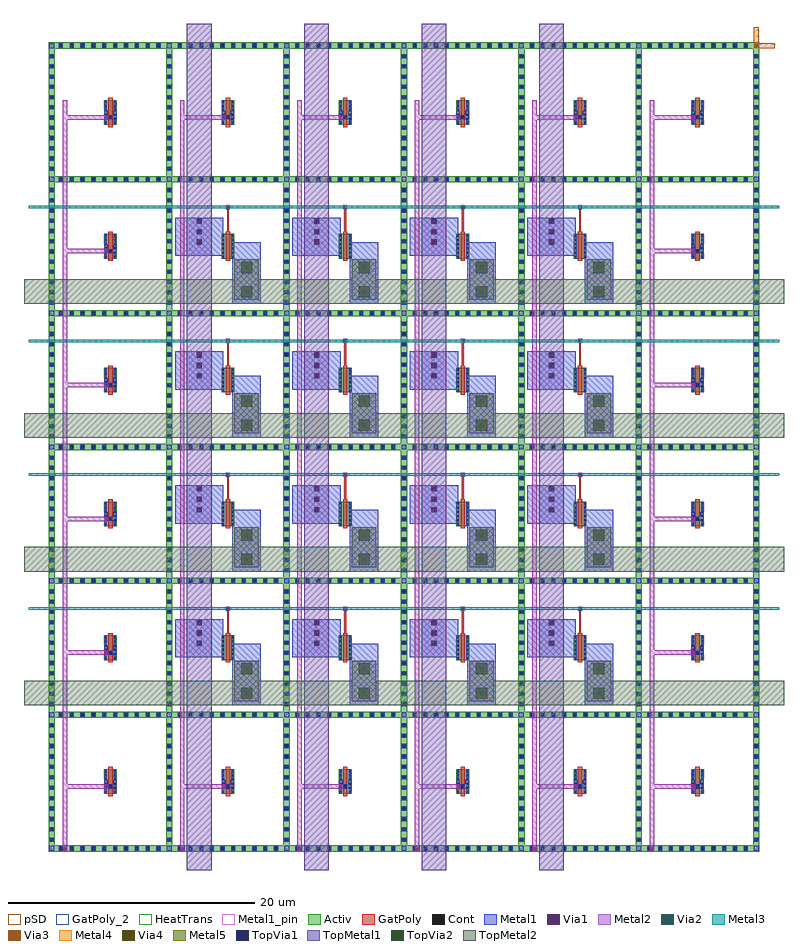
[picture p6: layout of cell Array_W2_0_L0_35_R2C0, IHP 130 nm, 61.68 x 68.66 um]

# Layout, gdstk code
import gdstk
lib = gdstk.Library(unit=1e-6, precision=1e-09)
def R(c, l, rs):  # rectangles x0, y0, x1, y1
    for r in rs: c.add(gdstk.rectangle(r[:2], r[2:], *l))
def A(c, l, x, y, w, h, nx, ny, dx, dy):  # array of equal rectangles
    R(c, l, [(x+i*dx, y+j*dy, x+i*dx+w, y+j*dy+h) for i in range(nx) for j in range(ny)])
Activ = (1, 0)
GatPoly = (5, 0)
GatPoly_2 = (5, 2)
Cont = (6, 0)
Metal1 = (8, 0)
Metal1_pin = (8, 2)
Metal2 = (10, 0)
pSD = (14, 0)
Via1 = (19, 0)
Via2 = (29, 0)
Metal3 = (30, 0)
Via3 = (49, 0)
Metal4 = (50, 0)
HeatTrans = (51, 0)
Via4 = (66, 0)
Metal5 = (67, 0)
TopVia1 = (125, 0)
TopMetal1 = (126, 0)
TopVia2 = (133, 0)
TopMetal2 = (134, 0)

array_w2_0_l0_35_r2c0 = lib.new_cell('Array_W2_0_L0_35_R2C0')
A(array_w2_0_l0_35_r2c0, Activ, 0, 0, 0.5, 65.66, 7, 1, 9.53, 0)
A(array_w2_0_l0_35_r2c0, Activ, 0, 0, 57.68, 0.5, 1, 7, 0, 10.86)
A(array_w2_0_l0_35_r2c0, Activ, 4.5, 4.68, 0.3, 0.3, 1, 6, 0, 10.86)
A(array_w2_0_l0_35_r2c0, Activ, 4.5, 4.68, 1.03, 2, 6, 6, 9.53, 10.86)
A(array_w2_0_l0_35_r2c0, Activ, 5.23, 4.68, 0.3, 0.3, 1, 6, 0, 10.86)
A(array_w2_0_l0_35_r2c0, Activ, 14.03, 4.68, 0.3, 0.3, 1, 6, 0, 10.86)
A(array_w2_0_l0_35_r2c0, Activ, 14.76, 4.68, 0.3, 0.3, 1, 6, 0, 10.86)
A(array_w2_0_l0_35_r2c0, Activ, 23.56, 4.68, 0.3, 0.3, 1, 6, 0, 10.86)
A(array_w2_0_l0_35_r2c0, Activ, 24.29, 4.68, 0.3, 0.3, 1, 6, 0, 10.86)
A(array_w2_0_l0_35_r2c0, Activ, 33.09, 4.68, 0.3, 0.3, 1, 6, 0, 10.86)
A(array_w2_0_l0_35_r2c0, Activ, 33.82, 4.68, 0.3, 0.3, 1, 6, 0, 10.86)
A(array_w2_0_l0_35_r2c0, Activ, 42.62, 4.68, 0.3, 0.3, 1, 6, 0, 10.86)
A(array_w2_0_l0_35_r2c0, Activ, 43.35, 4.68, 0.3, 0.3, 1, 6, 0, 10.86)
A(array_w2_0_l0_35_r2c0, Activ, 52.15, 4.68, 0.3, 0.3, 1, 6, 0, 10.86)
A(array_w2_0_l0_35_r2c0, Activ, 52.88, 4.68, 0.3, 0.3, 1, 6, 0, 10.86)
A(array_w2_0_l0_35_r2c0, GatPoly, 4.84, 4.5, 0.35, 2.36, 6, 6, 9.53, 10.86)
A(array_w2_0_l0_35_r2c0, GatPoly, 4.95, 5.28, 0.13, 0.2, 6, 2, 9.53, 54.3)
A(array_w2_0_l0_35_r2c0, GatPoly, 4.95, 16.14, 0.13, 0.2, 1, 4, 0, 10.86)
A(array_w2_0_l0_35_r2c0, GatPoly, 52.6, 16.14, 0.13, 0.2, 1, 4, 0, 10.86)
A(array_w2_0_l0_35_r2c0, GatPoly, 14.48, 17.72, 0.13, 2, 4, 4, 9.53, 10.86)
A(array_w2_0_l0_35_r2c0, GatPoly_2, 4.84, 4.5, 0.35, 2.36, 6, 6, 9.53, 10.86)
A(array_w2_0_l0_35_r2c0, Cont, 0.881, 0.14, 0.22, 0.22, 10, 7, 0.881, 10.86)
A(array_w2_0_l0_35_r2c0, Cont, 10.53, 0.14, 0.22, 0.22, 1, 7, 0, 10.86)
A(array_w2_0_l0_35_r2c0, Cont, 11.397, 0.14, 0.22, 0.22, 4, 7, 0.868, 10.86)
A(array_w2_0_l0_35_r2c0, Cont, 14.868, 0.14, 0.22, 0.22, 5, 7, 0.868, 10.86)
A(array_w2_0_l0_35_r2c0, Cont, 20.06, 0.14, 0.22, 0.22, 1, 7, 0, 10.86)
A(array_w2_0_l0_35_r2c0, Cont, 20.927, 0.14, 0.22, 0.22, 4, 7, 0.868, 10.86)
A(array_w2_0_l0_35_r2c0, Cont, 24.398, 0.14, 0.22, 0.22, 5, 7, 0.868, 10.86)
A(array_w2_0_l0_35_r2c0, Cont, 29.59, 0.14, 0.22, 0.22, 1, 7, 0, 10.86)
A(array_w2_0_l0_35_r2c0, Cont, 30.457, 0.14, 0.22, 0.22, 4, 7, 0.868, 10.86)
A(array_w2_0_l0_35_r2c0, Cont, 33.928, 0.14, 0.22, 0.22, 5, 7, 0.868, 10.86)
A(array_w2_0_l0_35_r2c0, Cont, 39.12, 0.14, 0.22, 0.22, 1, 7, 0, 10.86)
A(array_w2_0_l0_35_r2c0, Cont, 39.987, 0.14, 0.22, 0.22, 4, 7, 0.868, 10.86)
A(array_w2_0_l0_35_r2c0, Cont, 43.458, 0.14, 0.22, 0.22, 5, 7, 0.868, 10.86)
A(array_w2_0_l0_35_r2c0, Cont, 48.65, 0.14, 0.22, 0.22, 1, 7, 0, 10.86)
A(array_w2_0_l0_35_r2c0, Cont, 49.517, 0.14, 0.22, 0.22, 4, 7, 0.868, 10.86)
A(array_w2_0_l0_35_r2c0, Cont, 52.988, 0.14, 0.22, 0.22, 5, 7, 0.868, 10.86)
A(array_w2_0_l0_35_r2c0, Cont, 0.14, 0.845, 0.22, 0.22, 7, 12, 9.53, 0.845)
A(array_w2_0_l0_35_r2c0, Cont, 4.57, 4.75, 0.16, 0.16, 1, 6, 0, 0.34)
A(array_w2_0_l0_35_r2c0, Cont, 5.3, 4.75, 0.16, 0.16, 1, 6, 0, 0.34)
A(array_w2_0_l0_35_r2c0, Cont, 14.1, 4.75, 0.16, 0.16, 1, 6, 0, 0.34)
A(array_w2_0_l0_35_r2c0, Cont, 14.83, 4.75, 0.16, 0.16, 1, 6, 0, 0.34)
A(array_w2_0_l0_35_r2c0, Cont, 23.63, 4.75, 0.16, 0.16, 1, 6, 0, 0.34)
A(array_w2_0_l0_35_r2c0, Cont, 24.36, 4.75, 0.16, 0.16, 1, 6, 0, 0.34)
A(array_w2_0_l0_35_r2c0, Cont, 33.16, 4.75, 0.16, 0.16, 1, 6, 0, 0.34)
A(array_w2_0_l0_35_r2c0, Cont, 33.89, 4.75, 0.16, 0.16, 1, 6, 0, 0.34)
A(array_w2_0_l0_35_r2c0, Cont, 42.69, 4.75, 0.16, 0.16, 1, 6, 0, 0.34)
A(array_w2_0_l0_35_r2c0, Cont, 43.42, 4.75, 0.16, 0.16, 1, 6, 0, 0.34)
A(array_w2_0_l0_35_r2c0, Cont, 52.22, 4.75, 0.16, 0.16, 1, 6, 0, 0.34)
A(array_w2_0_l0_35_r2c0, Cont, 52.95, 4.75, 0.16, 0.16, 1, 6, 0, 0.34)
A(array_w2_0_l0_35_r2c0, Cont, 4.905, 5.17, 0.22, 0.22, 6, 2, 9.53, 54.3)
A(array_w2_0_l0_35_r2c0, Cont, 0.14, 11.86, 0.22, 0.22, 7, 2, 9.53, 0.83)
A(array_w2_0_l0_35_r2c0, Cont, 0.14, 13.521, 0.22, 0.22, 7, 10, 9.53, 0.831)
A(array_w2_0_l0_35_r2c0, Cont, 4.57, 15.61, 0.16, 0.16, 1, 6, 0, 0.34)
A(array_w2_0_l0_35_r2c0, Cont, 5.3, 15.61, 0.16, 0.16, 1, 6, 0, 0.34)
A(array_w2_0_l0_35_r2c0, Cont, 14.1, 15.61, 0.16, 0.16, 1, 6, 0, 0.34)
A(array_w2_0_l0_35_r2c0, Cont, 14.83, 15.61, 0.16, 0.16, 1, 6, 0, 0.34)
A(array_w2_0_l0_35_r2c0, Cont, 23.63, 15.61, 0.16, 0.16, 1, 6, 0, 0.34)
A(array_w2_0_l0_35_r2c0, Cont, 24.36, 15.61, 0.16, 0.16, 1, 6, 0, 0.34)
A(array_w2_0_l0_35_r2c0, Cont, 33.16, 15.61, 0.16, 0.16, 1, 6, 0, 0.34)
A(array_w2_0_l0_35_r2c0, Cont, 33.89, 15.61, 0.16, 0.16, 1, 6, 0, 0.34)
A(array_w2_0_l0_35_r2c0, Cont, 42.69, 15.61, 0.16, 0.16, 1, 6, 0, 0.34)
A(array_w2_0_l0_35_r2c0, Cont, 43.42, 15.61, 0.16, 0.16, 1, 6, 0, 0.34)
A(array_w2_0_l0_35_r2c0, Cont, 52.22, 15.61, 0.16, 0.16, 1, 6, 0, 0.34)
A(array_w2_0_l0_35_r2c0, Cont, 52.95, 15.61, 0.16, 0.16, 1, 6, 0, 0.34)
A(array_w2_0_l0_35_r2c0, Cont, 4.905, 16.03, 0.22, 0.22, 1, 4, 0, 10.86)
A(array_w2_0_l0_35_r2c0, Cont, 52.555, 16.03, 0.22, 0.22, 1, 4, 0, 10.86)
A(array_w2_0_l0_35_r2c0, Cont, 14.435, 19.61, 0.22, 0.22, 4, 4, 9.53, 10.86)
A(array_w2_0_l0_35_r2c0, Cont, 0.14, 22.72, 0.22, 0.22, 7, 2, 9.53, 0.83)
A(array_w2_0_l0_35_r2c0, Cont, 0.14, 24.381, 0.22, 0.22, 7, 10, 9.53, 0.831)
A(array_w2_0_l0_35_r2c0, Cont, 4.57, 26.47, 0.16, 0.16, 1, 6, 0, 0.34)
A(array_w2_0_l0_35_r2c0, Cont, 5.3, 26.47, 0.16, 0.16, 1, 6, 0, 0.34)
A(array_w2_0_l0_35_r2c0, Cont, 14.1, 26.47, 0.16, 0.16, 1, 6, 0, 0.34)
A(array_w2_0_l0_35_r2c0, Cont, 14.83, 26.47, 0.16, 0.16, 1, 6, 0, 0.34)
A(array_w2_0_l0_35_r2c0, Cont, 23.63, 26.47, 0.16, 0.16, 1, 6, 0, 0.34)
A(array_w2_0_l0_35_r2c0, Cont, 24.36, 26.47, 0.16, 0.16, 1, 6, 0, 0.34)
A(array_w2_0_l0_35_r2c0, Cont, 33.16, 26.47, 0.16, 0.16, 1, 6, 0, 0.34)
A(array_w2_0_l0_35_r2c0, Cont, 33.89, 26.47, 0.16, 0.16, 1, 6, 0, 0.34)
A(array_w2_0_l0_35_r2c0, Cont, 42.69, 26.47, 0.16, 0.16, 1, 6, 0, 0.34)
A(array_w2_0_l0_35_r2c0, Cont, 43.42, 26.47, 0.16, 0.16, 1, 6, 0, 0.34)
A(array_w2_0_l0_35_r2c0, Cont, 52.22, 26.47, 0.16, 0.16, 1, 6, 0, 0.34)
A(array_w2_0_l0_35_r2c0, Cont, 52.95, 26.47, 0.16, 0.16, 1, 6, 0, 0.34)
A(array_w2_0_l0_35_r2c0, Cont, 0.14, 33.58, 0.22, 0.22, 7, 2, 9.53, 0.83)
A(array_w2_0_l0_35_r2c0, Cont, 0.14, 35.241, 0.22, 0.22, 7, 10, 9.53, 0.831)
A(array_w2_0_l0_35_r2c0, Cont, 4.57, 37.33, 0.16, 0.16, 1, 6, 0, 0.34)
A(array_w2_0_l0_35_r2c0, Cont, 5.3, 37.33, 0.16, 0.16, 1, 6, 0, 0.34)
A(array_w2_0_l0_35_r2c0, Cont, 14.1, 37.33, 0.16, 0.16, 1, 6, 0, 0.34)
A(array_w2_0_l0_35_r2c0, Cont, 14.83, 37.33, 0.16, 0.16, 1, 6, 0, 0.34)
A(array_w2_0_l0_35_r2c0, Cont, 23.63, 37.33, 0.16, 0.16, 1, 6, 0, 0.34)
A(array_w2_0_l0_35_r2c0, Cont, 24.36, 37.33, 0.16, 0.16, 1, 6, 0, 0.34)
A(array_w2_0_l0_35_r2c0, Cont, 33.16, 37.33, 0.16, 0.16, 1, 6, 0, 0.34)
A(array_w2_0_l0_35_r2c0, Cont, 33.89, 37.33, 0.16, 0.16, 1, 6, 0, 0.34)
A(array_w2_0_l0_35_r2c0, Cont, 42.69, 37.33, 0.16, 0.16, 1, 6, 0, 0.34)
A(array_w2_0_l0_35_r2c0, Cont, 43.42, 37.33, 0.16, 0.16, 1, 6, 0, 0.34)
A(array_w2_0_l0_35_r2c0, Cont, 52.22, 37.33, 0.16, 0.16, 1, 6, 0, 0.34)
A(array_w2_0_l0_35_r2c0, Cont, 52.95, 37.33, 0.16, 0.16, 1, 6, 0, 0.34)
A(array_w2_0_l0_35_r2c0, Cont, 0.14, 44.44, 0.22, 0.22, 7, 2, 9.53, 0.83)
A(array_w2_0_l0_35_r2c0, Cont, 0.14, 46.101, 0.22, 0.22, 7, 10, 9.53, 0.831)
A(array_w2_0_l0_35_r2c0, Cont, 4.57, 48.19, 0.16, 0.16, 1, 6, 0, 0.34)
A(array_w2_0_l0_35_r2c0, Cont, 5.3, 48.19, 0.16, 0.16, 1, 6, 0, 0.34)
A(array_w2_0_l0_35_r2c0, Cont, 14.1, 48.19, 0.16, 0.16, 1, 6, 0, 0.34)
A(array_w2_0_l0_35_r2c0, Cont, 14.83, 48.19, 0.16, 0.16, 1, 6, 0, 0.34)
A(array_w2_0_l0_35_r2c0, Cont, 23.63, 48.19, 0.16, 0.16, 1, 6, 0, 0.34)
A(array_w2_0_l0_35_r2c0, Cont, 24.36, 48.19, 0.16, 0.16, 1, 6, 0, 0.34)
A(array_w2_0_l0_35_r2c0, Cont, 33.16, 48.19, 0.16, 0.16, 1, 6, 0, 0.34)
A(array_w2_0_l0_35_r2c0, Cont, 33.89, 48.19, 0.16, 0.16, 1, 6, 0, 0.34)
A(array_w2_0_l0_35_r2c0, Cont, 42.69, 48.19, 0.16, 0.16, 1, 6, 0, 0.34)
A(array_w2_0_l0_35_r2c0, Cont, 43.42, 48.19, 0.16, 0.16, 1, 6, 0, 0.34)
A(array_w2_0_l0_35_r2c0, Cont, 52.22, 48.19, 0.16, 0.16, 1, 6, 0, 0.34)
A(array_w2_0_l0_35_r2c0, Cont, 52.95, 48.19, 0.16, 0.16, 1, 6, 0, 0.34)
A(array_w2_0_l0_35_r2c0, Cont, 0.14, 55.3, 0.22, 0.22, 7, 2, 9.53, 0.83)
A(array_w2_0_l0_35_r2c0, Cont, 0.14, 56.961, 0.22, 0.22, 7, 10, 9.53, 0.831)
A(array_w2_0_l0_35_r2c0, Cont, 4.57, 59.05, 0.16, 0.16, 1, 6, 0, 0.34)
A(array_w2_0_l0_35_r2c0, Cont, 5.3, 59.05, 0.16, 0.16, 1, 6, 0, 0.34)
A(array_w2_0_l0_35_r2c0, Cont, 14.1, 59.05, 0.16, 0.16, 1, 6, 0, 0.34)
A(array_w2_0_l0_35_r2c0, Cont, 14.83, 59.05, 0.16, 0.16, 1, 6, 0, 0.34)
A(array_w2_0_l0_35_r2c0, Cont, 23.63, 59.05, 0.16, 0.16, 1, 6, 0, 0.34)
A(array_w2_0_l0_35_r2c0, Cont, 24.36, 59.05, 0.16, 0.16, 1, 6, 0, 0.34)
A(array_w2_0_l0_35_r2c0, Cont, 33.16, 59.05, 0.16, 0.16, 1, 6, 0, 0.34)
A(array_w2_0_l0_35_r2c0, Cont, 33.89, 59.05, 0.16, 0.16, 1, 6, 0, 0.34)
A(array_w2_0_l0_35_r2c0, Cont, 42.69, 59.05, 0.16, 0.16, 1, 6, 0, 0.34)
A(array_w2_0_l0_35_r2c0, Cont, 43.42, 59.05, 0.16, 0.16, 1, 6, 0, 0.34)
A(array_w2_0_l0_35_r2c0, Cont, 52.22, 59.05, 0.16, 0.16, 1, 6, 0, 0.34)
A(array_w2_0_l0_35_r2c0, Cont, 52.95, 59.05, 0.16, 0.16, 1, 6, 0, 0.34)
A(array_w2_0_l0_35_r2c0, Metal1, 0.821, 0.08, 0.34, 0.34, 10, 7, 0.881, 10.86)
A(array_w2_0_l0_35_r2c0, Metal1, 10.47, 0.08, 0.34, 0.34, 1, 7, 0, 10.86)
A(array_w2_0_l0_35_r2c0, Metal1, 11.337, 0.08, 0.34, 0.34, 4, 7, 0.868, 10.86)
A(array_w2_0_l0_35_r2c0, Metal1, 14.808, 0.08, 0.34, 0.34, 5, 7, 0.868, 10.86)
A(array_w2_0_l0_35_r2c0, Metal1, 20, 0.08, 0.34, 0.34, 1, 7, 0, 10.86)
A(array_w2_0_l0_35_r2c0, Metal1, 20.867, 0.08, 0.34, 0.34, 4, 7, 0.868, 10.86)
A(array_w2_0_l0_35_r2c0, Metal1, 24.338, 0.08, 0.34, 0.34, 5, 7, 0.868, 10.86)
A(array_w2_0_l0_35_r2c0, Metal1, 29.53, 0.08, 0.34, 0.34, 1, 7, 0, 10.86)
A(array_w2_0_l0_35_r2c0, Metal1, 30.397, 0.08, 0.34, 0.34, 4, 7, 0.868, 10.86)
A(array_w2_0_l0_35_r2c0, Metal1, 33.868, 0.08, 0.34, 0.34, 5, 7, 0.868, 10.86)
A(array_w2_0_l0_35_r2c0, Metal1, 39.06, 0.08, 0.34, 0.34, 1, 7, 0, 10.86)
A(array_w2_0_l0_35_r2c0, Metal1, 39.927, 0.08, 0.34, 0.34, 4, 7, 0.868, 10.86)
A(array_w2_0_l0_35_r2c0, Metal1, 43.398, 0.08, 0.34, 0.34, 5, 7, 0.868, 10.86)
A(array_w2_0_l0_35_r2c0, Metal1, 48.59, 0.08, 0.34, 0.34, 1, 7, 0, 10.86)
A(array_w2_0_l0_35_r2c0, Metal1, 49.457, 0.08, 0.34, 0.34, 4, 7, 0.868, 10.86)
A(array_w2_0_l0_35_r2c0, Metal1, 52.928, 0.08, 0.34, 0.34, 5, 7, 0.868, 10.86)
A(array_w2_0_l0_35_r2c0, Metal1, 0.08, 0.785, 0.34, 0.34, 7, 12, 9.53, 0.845)
A(array_w2_0_l0_35_r2c0, Metal1, 4.57, 4.68, 0.16, 2, 1, 6, 0, 10.86)
A(array_w2_0_l0_35_r2c0, Metal1, 5.3, 4.68, 0.16, 2, 1, 6, 0, 10.86)
A(array_w2_0_l0_35_r2c0, Metal1, 14.1, 4.68, 0.16, 2, 1, 6, 0, 10.86)
A(array_w2_0_l0_35_r2c0, Metal1, 14.83, 4.68, 0.16, 2, 1, 6, 0, 10.86)
A(array_w2_0_l0_35_r2c0, Metal1, 23.63, 4.68, 0.16, 2, 1, 6, 0, 10.86)
A(array_w2_0_l0_35_r2c0, Metal1, 24.36, 4.68, 0.16, 2, 1, 6, 0, 10.86)
A(array_w2_0_l0_35_r2c0, Metal1, 33.16, 4.68, 0.16, 2, 1, 6, 0, 10.86)
A(array_w2_0_l0_35_r2c0, Metal1, 33.89, 4.68, 0.16, 2, 1, 6, 0, 10.86)
A(array_w2_0_l0_35_r2c0, Metal1, 42.69, 4.68, 0.16, 2, 1, 6, 0, 10.86)
A(array_w2_0_l0_35_r2c0, Metal1, 43.42, 4.68, 0.16, 2, 1, 6, 0, 10.86)
A(array_w2_0_l0_35_r2c0, Metal1, 52.22, 4.68, 0.16, 2, 1, 6, 0, 10.86)
A(array_w2_0_l0_35_r2c0, Metal1, 52.95, 4.68, 0.16, 2, 1, 6, 0, 10.86)
A(array_w2_0_l0_35_r2c0, Metal1, 4.845, 5.11, 0.34, 0.34, 6, 2, 9.53, 54.3)
A(array_w2_0_l0_35_r2c0, Metal1, 4.51, 5.14, 0.28, 0.68, 1, 6, 0, 10.86)
A(array_w2_0_l0_35_r2c0, Metal1, 4.51, 5.14, 1.01, 0.28, 6, 2, 9.53, 54.3)
A(array_w2_0_l0_35_r2c0, Metal1, 5.24, 5.14, 0.28, 0.68, 1, 6, 0, 10.86)
A(array_w2_0_l0_35_r2c0, Metal1, 52.16, 5.14, 0.28, 0.68, 1, 6, 0, 10.86)
A(array_w2_0_l0_35_r2c0, Metal1, 52.89, 5.14, 0.28, 0.68, 1, 6, 0, 10.86)
A(array_w2_0_l0_35_r2c0, Metal1, 0.05, 10.91, 0.4, 0.4, 7, 6, 9.53, 10.86)
A(array_w2_0_l0_35_r2c0, Metal1, 0.08, 11.8, 0.34, 0.34, 7, 2, 9.53, 0.83)
A(array_w2_0_l0_35_r2c0, Metal1, 14.91, 11.86, 2.32, 5.02, 4, 4, 9.53, 10.86)
A(array_w2_0_l0_35_r2c0, Metal1, 0.08, 13.461, 0.34, 0.34, 7, 10, 9.53, 0.831)
A(array_w2_0_l0_35_r2c0, Metal1, 10.26, 15.76, 3.92, 3.11, 4, 4, 9.53, 10.86)
A(array_w2_0_l0_35_r2c0, Metal1, 4.845, 15.97, 0.34, 0.34, 1, 4, 0, 10.86)
A(array_w2_0_l0_35_r2c0, Metal1, 52.495, 15.97, 0.34, 0.34, 1, 4, 0, 10.86)
A(array_w2_0_l0_35_r2c0, Metal1, 4.51, 16, 1.01, 0.28, 1, 4, 0, 10.86)
A(array_w2_0_l0_35_r2c0, Metal1, 52.16, 16, 1.01, 0.28, 1, 4, 0, 10.86)
A(array_w2_0_l0_35_r2c0, Metal1, 14.385, 19.56, 0.32, 0.32, 4, 4, 9.53, 10.86)
A(array_w2_0_l0_35_r2c0, Metal1, 0.08, 22.66, 0.34, 0.34, 7, 2, 9.53, 0.83)
A(array_w2_0_l0_35_r2c0, Metal1, 0.08, 24.321, 0.34, 0.34, 7, 10, 9.53, 0.831)
A(array_w2_0_l0_35_r2c0, Metal1, 0.08, 33.52, 0.34, 0.34, 7, 2, 9.53, 0.83)
A(array_w2_0_l0_35_r2c0, Metal1, 0.08, 35.181, 0.34, 0.34, 7, 10, 9.53, 0.831)
A(array_w2_0_l0_35_r2c0, Metal1, 0.08, 44.38, 0.34, 0.34, 7, 2, 9.53, 0.83)
A(array_w2_0_l0_35_r2c0, Metal1, 0.08, 46.041, 0.34, 0.34, 7, 10, 9.53, 0.831)
A(array_w2_0_l0_35_r2c0, Metal1, 0.08, 55.24, 0.34, 0.34, 7, 2, 9.53, 0.83)
A(array_w2_0_l0_35_r2c0, Metal1, 0.08, 56.901, 0.34, 0.34, 7, 10, 9.53, 0.831)
R(array_w2_0_l0_35_r2c0, Metal1, [(0.05,0.05,0.45,0.45), (1.115,0.05,1.515,0.45), (9.58,0.05,9.98,0.45), (10.645,0.05,11.045,0.45), (19.11,0.05,19.51,0.45), (20.175,0.05,20.575,0.45), (28.64,0.05,29.04,0.45), (29.705,0.05,30.105,0.45), (38.17,0.05,38.57,0.45), (39.235,0.05,39.635,0.45), (47.7,0.05,48.1,0.45), (48.765,0.05,49.165,0.45), (57.23,0.05,57.63,0.45), (14.04,5.14,14.32,5.82), (14.77,5.14,15.05,5.82), (23.57,5.14,23.85,5.82), (24.3,5.14,24.58,5.82), (33.1,5.14,33.38,5.82), (33.83,5.14,34.11,5.82), (42.63,5.14,42.91,5.82), (43.36,5.14,43.64,5.82), (14.04,59.44,14.32,60.12), (14.77,59.44,15.05,60.12), (23.57,59.44,23.85,60.12), (24.3,59.44,24.58,60.12), (33.1,59.44,33.38,60.12), (33.83,59.44,34.11,60.12), (42.63,59.44,42.91,60.12), (43.36,59.44,43.64,60.12)])
A(array_w2_0_l0_35_r2c0, Metal1_pin, 4.57, 4.68, 0.16, 2, 1, 6, 0, 10.86)
A(array_w2_0_l0_35_r2c0, Metal1_pin, 5.3, 4.68, 0.16, 2, 1, 6, 0, 10.86)
A(array_w2_0_l0_35_r2c0, Metal1_pin, 14.1, 4.68, 0.16, 2, 1, 6, 0, 10.86)
A(array_w2_0_l0_35_r2c0, Metal1_pin, 14.83, 4.68, 0.16, 2, 1, 6, 0, 10.86)
A(array_w2_0_l0_35_r2c0, Metal1_pin, 23.63, 4.68, 0.16, 2, 1, 6, 0, 10.86)
A(array_w2_0_l0_35_r2c0, Metal1_pin, 24.36, 4.68, 0.16, 2, 1, 6, 0, 10.86)
A(array_w2_0_l0_35_r2c0, Metal1_pin, 33.16, 4.68, 0.16, 2, 1, 6, 0, 10.86)
A(array_w2_0_l0_35_r2c0, Metal1_pin, 33.89, 4.68, 0.16, 2, 1, 6, 0, 10.86)
A(array_w2_0_l0_35_r2c0, Metal1_pin, 42.69, 4.68, 0.16, 2, 1, 6, 0, 10.86)
A(array_w2_0_l0_35_r2c0, Metal1_pin, 43.42, 4.68, 0.16, 2, 1, 6, 0, 10.86)
A(array_w2_0_l0_35_r2c0, Metal1_pin, 52.22, 4.68, 0.16, 2, 1, 6, 0, 10.86)
A(array_w2_0_l0_35_r2c0, Metal1_pin, 52.95, 4.68, 0.16, 2, 1, 6, 0, 10.86)
A(array_w2_0_l0_35_r2c0, Metal2, 1.135, 0.07, 0.36, 60.91, 6, 1, 9.53, 0)
A(array_w2_0_l0_35_r2c0, Metal2, 1.135, 5.1, 3.695, 0.36, 6, 2, 9.53, 54.3)
A(array_w2_0_l0_35_r2c0, Metal2, 15.915, 12.705, 0.31, 0.31, 4, 2, 9.53, 1.96)
A(array_w2_0_l0_35_r2c0, Metal2, 1.135, 15.96, 3.695, 0.36, 1, 4, 0, 10.86)
A(array_w2_0_l0_35_r2c0, Metal2, 48.785, 15.96, 3.695, 0.36, 1, 4, 0, 10.86)
A(array_w2_0_l0_35_r2c0, Metal2, 12.065, 16.735, 0.31, 0.31, 4, 3, 9.53, 0.84)
A(array_w2_0_l0_35_r2c0, Metal2, 14.4, 19.575, 0.29, 0.29, 4, 4, 9.53, 10.86)
A(array_w2_0_l0_35_r2c0, Metal2, 15.915, 23.565, 0.31, 0.31, 4, 2, 9.53, 1.96)
A(array_w2_0_l0_35_r2c0, Metal2, 12.065, 27.595, 0.31, 0.31, 4, 3, 9.53, 0.84)
A(array_w2_0_l0_35_r2c0, Metal2, 15.915, 34.425, 0.31, 0.31, 4, 2, 9.53, 1.96)
A(array_w2_0_l0_35_r2c0, Metal2, 12.065, 38.455, 0.31, 0.31, 4, 3, 9.53, 0.84)
A(array_w2_0_l0_35_r2c0, Metal2, 15.915, 45.285, 0.31, 0.31, 4, 2, 9.53, 1.96)
A(array_w2_0_l0_35_r2c0, Metal2, 12.065, 49.315, 0.31, 0.31, 4, 3, 9.53, 0.84)
R(array_w2_0_l0_35_r2c0, Metal2, [(57.25,65.23,57.61,65.59)])
A(array_w2_0_l0_35_r2c0, pSD, 0, 0, 0.5, 65.66, 7, 1, 9.53, 0)
A(array_w2_0_l0_35_r2c0, pSD, 0, 0, 57.68, 0.5, 1, 7, 0, 10.86)
A(array_w2_0_l0_35_r2c0, Via1, 1.22, 0.155, 0.19, 0.19, 6, 1, 9.53, 0)
A(array_w2_0_l0_35_r2c0, Via1, 4.555, 5.185, 0.19, 0.19, 6, 2, 9.53, 54.3)
A(array_w2_0_l0_35_r2c0, Via1, 15.975, 12.765, 0.19, 0.19, 4, 2, 9.53, 1.96)
A(array_w2_0_l0_35_r2c0, Via1, 4.555, 16.045, 0.19, 0.19, 1, 4, 0, 10.86)
A(array_w2_0_l0_35_r2c0, Via1, 52.205, 16.045, 0.19, 0.19, 1, 4, 0, 10.86)
A(array_w2_0_l0_35_r2c0, Via1, 12.125, 16.795, 0.19, 0.19, 4, 3, 9.53, 0.84)
A(array_w2_0_l0_35_r2c0, Via1, 14.45, 19.625, 0.19, 0.19, 4, 4, 9.53, 10.86)
A(array_w2_0_l0_35_r2c0, Via1, 15.975, 23.625, 0.19, 0.19, 4, 2, 9.53, 1.96)
A(array_w2_0_l0_35_r2c0, Via1, 12.125, 27.655, 0.19, 0.19, 4, 3, 9.53, 0.84)
A(array_w2_0_l0_35_r2c0, Via1, 15.975, 34.485, 0.19, 0.19, 4, 2, 9.53, 1.96)
A(array_w2_0_l0_35_r2c0, Via1, 12.125, 38.515, 0.19, 0.19, 4, 3, 9.53, 0.84)
A(array_w2_0_l0_35_r2c0, Via1, 15.975, 45.345, 0.19, 0.19, 4, 2, 9.53, 1.96)
A(array_w2_0_l0_35_r2c0, Via1, 12.125, 49.375, 0.19, 0.19, 4, 3, 9.53, 0.84)
R(array_w2_0_l0_35_r2c0, Via1, [(57.335,65.315,57.525,65.505)])
A(array_w2_0_l0_35_r2c0, Via2, 15.975, 12.765, 0.19, 0.19, 4, 2, 9.53, 1.96)
A(array_w2_0_l0_35_r2c0, Via2, 12.125, 16.795, 0.19, 0.19, 4, 3, 9.53, 0.84)
A(array_w2_0_l0_35_r2c0, Via2, 14.45, 19.625, 0.19, 0.19, 4, 4, 9.53, 10.86)
A(array_w2_0_l0_35_r2c0, Via2, 15.975, 23.625, 0.19, 0.19, 4, 2, 9.53, 1.96)
A(array_w2_0_l0_35_r2c0, Via2, 12.125, 27.655, 0.19, 0.19, 4, 3, 9.53, 0.84)
A(array_w2_0_l0_35_r2c0, Via2, 15.975, 34.485, 0.19, 0.19, 4, 2, 9.53, 1.96)
A(array_w2_0_l0_35_r2c0, Via2, 12.125, 38.515, 0.19, 0.19, 4, 3, 9.53, 0.84)
A(array_w2_0_l0_35_r2c0, Via2, 15.975, 45.345, 0.19, 0.19, 4, 2, 9.53, 1.96)
A(array_w2_0_l0_35_r2c0, Via2, 12.125, 49.375, 0.19, 0.19, 4, 3, 9.53, 0.84)
R(array_w2_0_l0_35_r2c0, Via2, [(57.335,65.315,57.525,65.505)])
A(array_w2_0_l0_35_r2c0, Metal3, 15.915, 12.705, 0.31, 0.31, 4, 2, 9.53, 1.96)
A(array_w2_0_l0_35_r2c0, Metal3, 12.065, 16.735, 0.31, 0.31, 4, 3, 9.53, 0.84)
A(array_w2_0_l0_35_r2c0, Metal3, -1.6, 19.62, 60.88, 0.2, 1, 4, 0, 10.86)
A(array_w2_0_l0_35_r2c0, Metal3, 14.445, 19.62, 0.2, 0.2, 4, 4, 9.53, 10.86)
A(array_w2_0_l0_35_r2c0, Metal3, 15.915, 23.565, 0.31, 0.31, 4, 2, 9.53, 1.96)
A(array_w2_0_l0_35_r2c0, Metal3, 12.065, 27.595, 0.31, 0.31, 4, 3, 9.53, 0.84)
A(array_w2_0_l0_35_r2c0, Metal3, 15.915, 34.425, 0.31, 0.31, 4, 2, 9.53, 1.96)
A(array_w2_0_l0_35_r2c0, Metal3, 12.065, 38.455, 0.31, 0.31, 4, 3, 9.53, 0.84)
A(array_w2_0_l0_35_r2c0, Metal3, 15.915, 45.285, 0.31, 0.31, 4, 2, 9.53, 1.96)
A(array_w2_0_l0_35_r2c0, Metal3, 12.065, 49.315, 0.31, 0.31, 4, 3, 9.53, 0.84)
R(array_w2_0_l0_35_r2c0, Metal3, [(57.33,65.31,57.53,65.51)])
A(array_w2_0_l0_35_r2c0, Via3, 15.975, 12.765, 0.19, 0.19, 4, 2, 9.53, 1.96)
A(array_w2_0_l0_35_r2c0, Via3, 12.125, 16.795, 0.19, 0.19, 4, 3, 9.53, 0.84)
A(array_w2_0_l0_35_r2c0, Via3, 15.975, 23.625, 0.19, 0.19, 4, 2, 9.53, 1.96)
A(array_w2_0_l0_35_r2c0, Via3, 12.125, 27.655, 0.19, 0.19, 4, 3, 9.53, 0.84)
A(array_w2_0_l0_35_r2c0, Via3, 15.975, 34.485, 0.19, 0.19, 4, 2, 9.53, 1.96)
A(array_w2_0_l0_35_r2c0, Via3, 12.125, 38.515, 0.19, 0.19, 4, 3, 9.53, 0.84)
A(array_w2_0_l0_35_r2c0, Via3, 15.975, 45.345, 0.19, 0.19, 4, 2, 9.53, 1.96)
A(array_w2_0_l0_35_r2c0, Via3, 12.125, 49.375, 0.19, 0.19, 4, 3, 9.53, 0.84)
R(array_w2_0_l0_35_r2c0, Via3, [(57.335,65.315,57.525,65.505)])
A(array_w2_0_l0_35_r2c0, Metal4, 15.915, 12.705, 0.31, 0.31, 4, 2, 9.53, 1.96)
A(array_w2_0_l0_35_r2c0, Metal4, 12.065, 16.735, 0.31, 0.31, 4, 3, 9.53, 0.84)
A(array_w2_0_l0_35_r2c0, Metal4, 15.915, 23.565, 0.31, 0.31, 4, 2, 9.53, 1.96)
A(array_w2_0_l0_35_r2c0, Metal4, 12.065, 27.595, 0.31, 0.31, 4, 3, 9.53, 0.84)
A(array_w2_0_l0_35_r2c0, Metal4, 15.915, 34.425, 0.31, 0.31, 4, 2, 9.53, 1.96)
A(array_w2_0_l0_35_r2c0, Metal4, 12.065, 38.455, 0.31, 0.31, 4, 3, 9.53, 0.84)
A(array_w2_0_l0_35_r2c0, Metal4, 15.915, 45.285, 0.31, 0.31, 4, 2, 9.53, 1.96)
A(array_w2_0_l0_35_r2c0, Metal4, 12.065, 49.315, 0.31, 0.31, 4, 3, 9.53, 0.84)
R(array_w2_0_l0_35_r2c0, Metal4, [(57.23,65.21,58.93,65.61), (57.23,65.21,57.63,66.91)])
A(array_w2_0_l0_35_r2c0, HeatTrans, 4.84, 4.5, 0.35, 2.36, 6, 6, 9.53, 10.86)
A(array_w2_0_l0_35_r2c0, Via4, 15.975, 12.765, 0.19, 0.19, 4, 2, 9.53, 1.96)
A(array_w2_0_l0_35_r2c0, Via4, 12.125, 16.795, 0.19, 0.19, 4, 3, 9.53, 0.84)
A(array_w2_0_l0_35_r2c0, Via4, 15.975, 23.625, 0.19, 0.19, 4, 2, 9.53, 1.96)
A(array_w2_0_l0_35_r2c0, Via4, 12.125, 27.655, 0.19, 0.19, 4, 3, 9.53, 0.84)
A(array_w2_0_l0_35_r2c0, Via4, 15.975, 34.485, 0.19, 0.19, 4, 2, 9.53, 1.96)
A(array_w2_0_l0_35_r2c0, Via4, 12.125, 38.515, 0.19, 0.19, 4, 3, 9.53, 0.84)
A(array_w2_0_l0_35_r2c0, Via4, 15.975, 45.345, 0.19, 0.19, 4, 2, 9.53, 1.96)
A(array_w2_0_l0_35_r2c0, Via4, 12.125, 49.375, 0.19, 0.19, 4, 3, 9.53, 0.84)
A(array_w2_0_l0_35_r2c0, Metal5, 15.915, 12.705, 0.31, 0.31, 4, 2, 9.53, 1.96)
A(array_w2_0_l0_35_r2c0, Metal5, 12.065, 16.735, 0.31, 0.31, 4, 3, 9.53, 0.84)
A(array_w2_0_l0_35_r2c0, Metal5, 15.915, 23.565, 0.31, 0.31, 4, 2, 9.53, 1.96)
A(array_w2_0_l0_35_r2c0, Metal5, 12.065, 27.595, 0.31, 0.31, 4, 3, 9.53, 0.84)
A(array_w2_0_l0_35_r2c0, Metal5, 15.915, 34.425, 0.31, 0.31, 4, 2, 9.53, 1.96)
A(array_w2_0_l0_35_r2c0, Metal5, 12.065, 38.455, 0.31, 0.31, 4, 3, 9.53, 0.84)
A(array_w2_0_l0_35_r2c0, Metal5, 15.915, 45.285, 0.31, 0.31, 4, 2, 9.53, 1.96)
A(array_w2_0_l0_35_r2c0, Metal5, 12.065, 49.315, 0.31, 0.31, 4, 3, 9.53, 0.84)
A(array_w2_0_l0_35_r2c0, TopVia1, 15.86, 12.65, 0.42, 0.42, 4, 2, 9.53, 1.96)
A(array_w2_0_l0_35_r2c0, TopVia1, 12.01, 16.68, 0.42, 0.42, 4, 3, 9.53, 0.84)
A(array_w2_0_l0_35_r2c0, TopVia1, 15.86, 23.51, 0.42, 0.42, 4, 2, 9.53, 1.96)
A(array_w2_0_l0_35_r2c0, TopVia1, 12.01, 27.54, 0.42, 0.42, 4, 3, 9.53, 0.84)
A(array_w2_0_l0_35_r2c0, TopVia1, 15.86, 34.37, 0.42, 0.42, 4, 2, 9.53, 1.96)
A(array_w2_0_l0_35_r2c0, TopVia1, 12.01, 38.4, 0.42, 0.42, 4, 3, 9.53, 0.84)
A(array_w2_0_l0_35_r2c0, TopVia1, 15.86, 45.23, 0.42, 0.42, 4, 2, 9.53, 1.96)
A(array_w2_0_l0_35_r2c0, TopVia1, 12.01, 49.26, 0.42, 0.42, 4, 3, 9.53, 0.84)
A(array_w2_0_l0_35_r2c0, TopMetal1, 11.22, -1.5, 2, 68.66, 4, 1, 9.53, 0)
A(array_w2_0_l0_35_r2c0, TopMetal1, 15.07, 12.21, 2, 3.26, 4, 4, 9.53, 10.86)
A(array_w2_0_l0_35_r2c0, TopMetal1, 11.22, 16.58, 2, 2.3, 4, 4, 9.53, 10.86)
A(array_w2_0_l0_35_r2c0, TopVia2, 15.62, 12.41, 0.9, 0.9, 4, 2, 9.53, 1.96)
A(array_w2_0_l0_35_r2c0, TopVia2, 15.62, 23.27, 0.9, 0.9, 4, 2, 9.53, 1.96)
A(array_w2_0_l0_35_r2c0, TopVia2, 15.62, 34.13, 0.9, 0.9, 4, 2, 9.53, 1.96)
A(array_w2_0_l0_35_r2c0, TopVia2, 15.62, 44.99, 0.9, 0.9, 4, 2, 9.53, 1.96)
A(array_w2_0_l0_35_r2c0, TopMetal2, -2, 11.86, 61.68, 2, 1, 4, 0, 10.86)
A(array_w2_0_l0_35_r2c0, TopMetal2, 15.07, 12.21, 2, 3.26, 4, 4, 9.53, 10.86)

lib.write_gds('Array_W2_0_L0_35_R2C0.gds')
